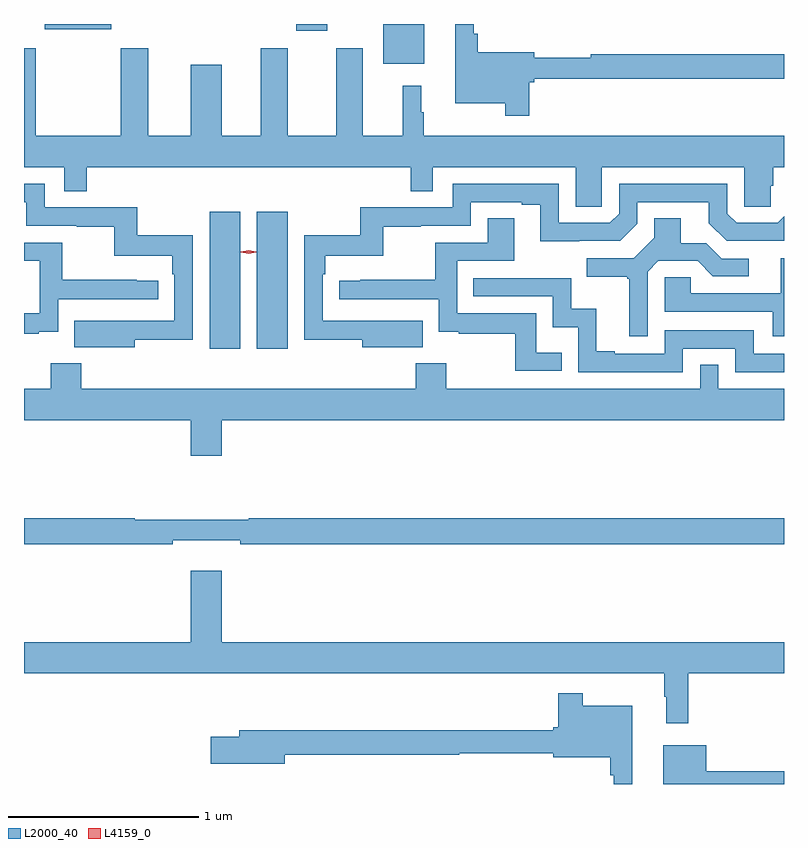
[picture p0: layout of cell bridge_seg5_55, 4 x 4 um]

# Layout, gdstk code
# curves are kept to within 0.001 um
import gdstk
lib = gdstk.Library(unit=1e-6, precision=1e-09)
def R(c, l, rs):  # rectangles x0, y0, x1, y1
    for r in rs: c.add(gdstk.rectangle(r[:2], r[2:], *l))
def P(c, l, *ps):  # polygons
    for p in ps: c.add(gdstk.Polygon(p, *l))
L2000_40 = (2000, 40)
L4159_0 = (4159, 0)

bridge_seg5_55 = lib.new_cell('bridge_seg5_55')
R(bridge_seg5_55, L2000_40, [(836.435,835.824,836.596,836.545), (836.684,835.824,836.845,836.545), (837.35,837.323,837.565,837.533), (836.891,837.498,837.055,837.533), (835.568,837.506,835.918,837.533)])
P(bridge_seg5_55, L2000_40, [(838.118,837.227),(838.144,837.227),(838.144,837.246),(839.458,837.246),(839.458,837.374),(838.44,837.374),(838.44,837.356),(838.144,837.356),(838.144,837.385),(837.845,837.385),(837.845,837.481),(837.825,837.481),(837.825,837.533),(837.728,837.533),(837.728,837.116),(837.99,837.116),(837.99,837.051),(838.118,837.051)],
  [(837.562,837.068),(837.55,837.068),(837.55,837.208),(837.452,837.208),(837.452,836.944),(837.241,836.944),(837.241,837.406),(837.101,837.406),(837.101,836.944),(836.845,836.944),(836.845,837.406),(836.705,837.406),(836.705,836.944),(836.5,836.944),(836.5,837.319),(836.336,837.319),(836.336,836.944),(836.113,836.944),(836.113,837.406),(835.966,837.406),(835.966,836.944),(835.521,836.944),(835.521,837.406),(835.458,837.406),(835.458,836.78),(835.671,836.78),(835.671,836.653),(835.787,836.653),(835.787,836.78),(837.493,836.78),(837.493,836.653),(837.609,836.653),(837.609,836.78),(838.361,836.78),(838.361,836.572),(838.5,836.572),(838.5,836.78),(839.25,836.78),(839.25,836.572),(839.387,836.572),(839.387,836.682),(839.402,836.682),(839.402,836.78),(839.458,836.78),(839.458,836.944),(837.562,836.944)],
  [(837.557,835.972),(837.03,835.971),(837.03,836.216),(837.044,836.216),(837.044,836.312),(837.349,836.312),(837.349,836.467),(837.545,836.467),(837.545,836.472),(837.81,836.472),(837.81,836.595),(838.079,836.595),(838.079,836.583),(838.175,836.583),(838.175,836.39),(838.596,836.391),(838.686,836.481),(838.686,836.595),(839.063,836.595),(839.063,836.485),(839.157,836.391),(839.458,836.391),(839.458,836.521),(839.424,836.487),(839.208,836.487),(839.16,836.535),(839.16,836.691),(838.59,836.691),(838.59,836.535),(838.542,836.487),(838.272,836.487),(838.272,836.691),(837.714,836.691),(837.714,836.568),(837.228,836.568),(837.228,836.422),(836.934,836.422),(836.934,835.87),(837.239,835.87),(837.239,835.832),(837.557,835.832)],
  [(836.041,835.87),(836.346,835.87),(836.346,836.422),(836.053,836.422),(836.053,836.568),(835.566,836.568),(835.566,836.691),(835.458,836.691),(835.458,836.595),(835.47,836.595),(835.47,836.472),(835.735,836.472),(835.735,836.467),(835.932,836.467),(835.932,836.312),(836.237,836.312),(836.237,836.216),(836.25,836.216),(836.25,835.971),(835.937,835.971),(835.937,835.972),(835.723,835.972),(835.723,835.832),(836.041,835.832)],
  [(838.74,836.229),(838.797,836.286),(839.003,836.286),(839.084,836.205),(839.272,836.205),(839.272,836.298),(839.13,836.298),(839.05,836.378),(838.915,836.378),(838.915,836.51),(838.775,836.51),(838.775,836.408),(838.668,836.301),(838.419,836.301),(838.419,836.204),(838.632,836.204),(838.632,836.193),(838.643,836.193),(838.643,835.89),(838.74,835.89)],
  [(838.289,835.804),(838.155,835.804),(838.155,836.01),(837.738,836.01),(837.738,836.286),(838.039,836.286),(838.039,836.51),(837.899,836.51),(837.899,836.382),(837.622,836.382),(837.622,836.186),(837.229,836.186),(837.229,836.181),(837.117,836.181),(837.117,836.085),(837.642,836.085),(837.642,835.913),(837.745,835.913),(837.745,835.902),(838.044,835.902),(838.044,835.707),(838.289,835.707)],
  [(835.535,835.913),(835.638,835.913),(835.638,836.085),(836.164,836.085),(836.164,836.181),(836.051,836.181),(836.051,836.186),(835.658,836.186),(835.658,836.382),(835.458,836.382),(835.458,836.286),(835.542,836.286),(835.542,836.01),(835.458,836.01),(835.458,835.902),(835.535,835.902)],
  [(839.458,836.301),(839.441,836.301),(839.441,836.115),(838.967,836.115),(838.967,836.199),(838.83,836.199),(838.83,836.019),(839.399,836.019),(839.399,835.89),(839.458,835.89)],
  [(838.926,835.824),(839.202,835.824),(839.202,835.701),(839.458,835.701),(839.458,835.797),(839.298,835.797),(839.298,835.92),(838.83,835.92),(838.83,835.797),(838.567,835.797),(838.567,835.81),(838.471,835.81),(838.471,836.035),(838.338,836.035),(838.338,836.196),(837.823,836.196),(837.823,836.1),(838.242,836.1),(838.242,835.937),(838.374,835.937),(838.374,835.701),(838.926,835.701)],
  [(839.458,835.612),(839.112,835.612),(839.112,835.739),(839.016,835.739),(839.016,835.612),(837.681,835.612),(837.681,835.747),(837.521,835.747),(837.521,835.612),(835.76,835.612),(835.76,835.747),(835.6,835.747),(835.6,835.612),(835.458,835.612),(835.458,835.448),(836.336,835.448),(836.336,835.26),(836.5,835.26),(836.5,835.448),(839.458,835.448)],
  [(836.24,834.815),(836.596,834.815),(836.596,834.796),(839.458,834.796),(839.458,834.932),(836.642,834.932),(836.642,834.925),(836.042,834.925),(836.042,834.932),(835.458,834.932),(835.458,834.796),(836.24,834.796)],
  [(838.955,834.116),(839.458,834.116),(839.458,834.28),(836.5,834.28),(836.5,834.655),(836.336,834.655),(836.336,834.28),(835.458,834.28),(835.458,834.116),(838.827,834.116),(838.827,833.993),(838.838,833.993),(838.838,833.853),(838.955,833.853)],
  [(838.66,833.944),(838.399,833.944),(838.399,834.01),(838.27,834.01),(838.27,833.833),(838.244,833.833),(838.244,833.815),(836.591,833.815),(836.591,833.781),(836.442,833.781),(836.442,833.639),(836.83,833.639),(836.83,833.686),(837.748,833.686),(837.748,833.694),(838.244,833.694),(838.244,833.675),(838.543,833.675),(838.543,833.579),(838.563,833.579),(838.563,833.533),(838.66,833.533)],
  [(839.458,833.6),(839.05,833.6),(839.05,833.737),(838.823,833.737),(838.823,833.533),(839.458,833.533)])
P(bridge_seg5_55, L4159_0, [(836.64,836.323),(836.6,836.333),(836.6,836.333),(836.6,836.334),(836.64,836.343),(836.68,836.334),(836.68,836.333),(836.68,836.333)])

lib.write_gds('bridge_seg5_55.gds')
